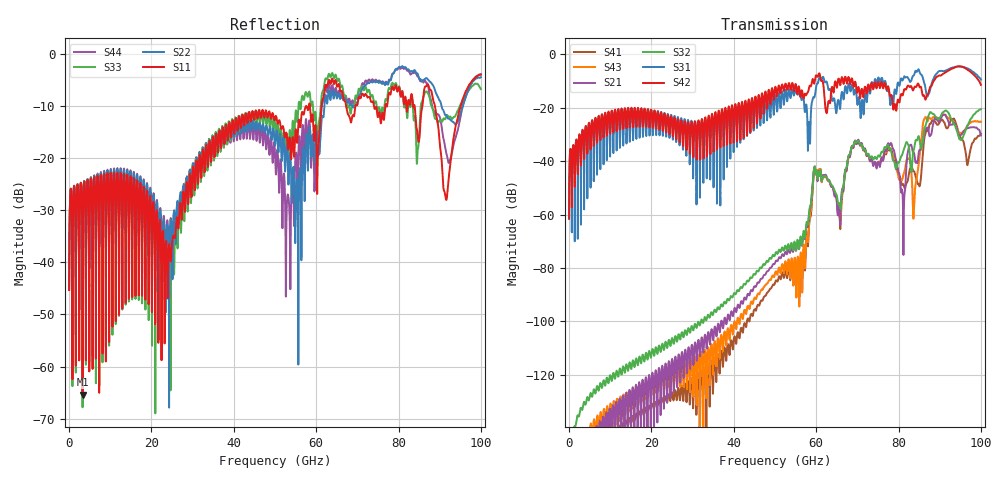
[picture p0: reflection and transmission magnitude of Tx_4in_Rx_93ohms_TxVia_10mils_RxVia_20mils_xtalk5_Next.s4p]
! Info: Touchstone file created by Circ.  Input file=Tx_4in_Rx_93ohms_TxVia_10mils_RxVia_20mils.circ
# Hz S RI R 50
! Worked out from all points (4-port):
!   10000 points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, 10 MHz to 100 GHz, reference 50 ohm
!   strongest paths, dB at 10 MHz, 25.01 GHz, 50.01 GHz, 75.01 GHz, 100 GHz:
!     S42: -61.6, -25.6, -12.5, -10.4, -11.4
!     S31: -61.5, -25.7, -15.7, -9.0, -9.5
!     S32: -177.7, -106.3, -75.0, -38.0, -20.5
!     S21: -, -114.1, -78.1, -40.4, -30.4
!     S43: -154.4, -118.7, -82.0, -40.4, -25.2
!     S41: -154.6, -126.6, -85.5, -40.5, -29.8
!   lowest |S11| = -65.4 dB at 3.27 GHz (marker M1), VSWR 1.00, Z = 50 + j0.0396 ohm
!   |S11| at or under -10 dB: start of sweep to 58.22 GHz; 58.5 GHz to 61.31 GHz (2.816 GHz wide, 4.7 % of centre); 88.83 GHz to 95.13 GHz (6.293 GHz wide, 6.84 % of centre)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
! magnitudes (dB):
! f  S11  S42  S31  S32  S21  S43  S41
! 10 MHz  -45.3  -61.6  -61.5  -177.7  -  -154.4  -154.6
! 3.27 GHz  -65.4  -28.3  -28.4  -132.8  -153.1  -164.5  -159.1
! 24.27 GHz  -36.7  -27.1  -27.8  -107.0  -115.0  -119.0  -127.6
! 55.55 GHz  -15.1  -13.7  -15.1  -69.8  -71.2  -75.7  -78.9
! 59.76 GHz  -13.9  -9.0  -14.8  -43.2  -42.9  -43.1  -43.0
! 83.79 GHz  -9.9  -12.4  -7.6  -35.4  -37.1  -55.9  -43.8
! 100 GHz  -4.1  -11.4  -9.5  -20.5  -30.4  -25.2  -29.8
